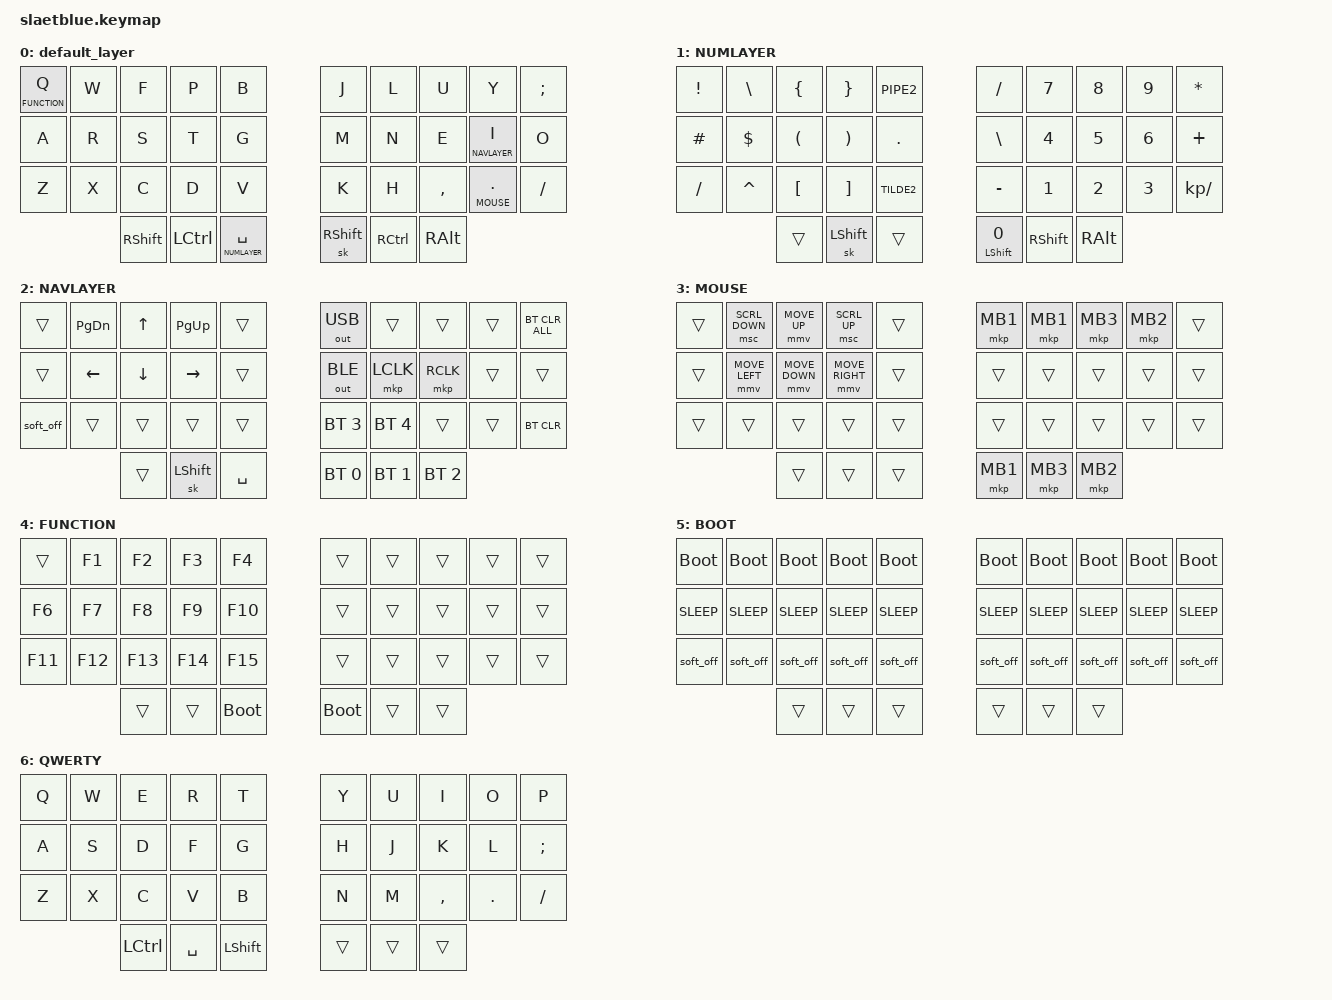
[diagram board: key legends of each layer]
#include <behaviors.dtsi>
#include <dt-bindings/zmk/keys.h>
#include <dt-bindings/zmk/mouse.h>
#include <dt-bindings/zmk/bt.h>
#include <dt-bindings/zmk/outputs.h>
#include <dt-bindings/zmk/pointing.h>

#define DEFAULT     0
#define NUMLAYER    1
#define NAVLAYER    2
#define MOUSE       3
#define FUNCTION    4
#define BOOT        5
#define QWERTY      6

/{
    #include "slaetblue.combos"
    #include "slaetblue.macros"
    #include "slaetblue.behaviors"

        keymap {
                compatible = "zmk,keymap";
                default_layer {

                        bindings = <
                            &lt FUNCTION Q  &kp W       &kp F       &kp P       &kp B                   &kp J       &kp L       &kp U       &kp Y               &kp SEMI     
                            &kp A           &kp R       &kp S       &kp T       &kp G                   &kp M       &kp N       &kp E       &lt NAVLAYER I      &kp O        
                            &kp Z           &kp X       &kp C       &kp D       &kp V                   &kp K       &kp H       &kp COMMA   &lt MOUSE DOT       &kp FSLH     
                                            &kp RSHIFT    &kp LCTRL   &lt NUMLAYER SPACE          &sk RSHIFT  &kp RCTRL   &kp RALT 

                        >;
                };
                NUMLAYER {

                        bindings = <
                            &kp EXCL    &kp BSLH    &kp LBRC    &kp RBRC    &kp PIPE2               &kp FSLH                &kp N7      &kp N8     &kp N9   &kp ASTRK          
                            &kp HASH    &kp DLLR    &kp LPAR    &kp RPAR    &kp DOT                 &kp BSLH                &kp N4      &kp N5     &kp N6   &kp PLUS           
                            &kp FSLH    &kp CARET   &kp LBKT    &kp RBKT    &kp TILDE2              &kp MINUS               &kp N1      &kp N2     &kp N3   &kp KP_DIVIDE      
                                                    &trans      &sk LSHIFT  &trans                  &mt LSHIFT NUMBER_0     &kp RSHIFT  &kp RALT
                  
                        >;
                };
                NAVLAYER {

                        bindings = <
                            &trans      &kp PG_DN   &kp UP      &kp PG_UP   &trans                  &out OUT_USB    &trans          &trans          &trans  &bt BT_CLR_ALL  
                            &trans      &kp LEFT    &kp DOWN    &kp RIGHT   &trans                  &out OUT_BLE    &mkp LCLK       &mkp RCLK          &trans  &trans        
                            &soft_off   &trans      &trans      &trans      &trans                  &bt BT_SEL 3    &bt BT_SEL 4    &trans          &trans  &bt BT_CLR    
                                                    &trans      &sk LSHIFT  &kp SPACE               &bt BT_SEL 0    &bt BT_SEL 1    &bt BT_SEL 2
                  
                        >;
                };
                MOUSE { 

                        bindings = <
                            &trans  &msc SCRL_DOWN      &mmv MOVE_UP    &msc SCRL_UP        &trans                  &mkp MB1      &mkp MB1      &mkp MB3  &mkp MB2  &trans 
                            &trans  &mmv MOVE_LEFT      &mmv MOVE_DOWN  &mmv MOVE_RIGHT     &trans                  &trans      &trans      &trans  &trans  &trans 
                            &trans  &trans              &trans          &trans              &trans                  &trans      &trans      &trans  &trans  &trans 
                                                        &trans          &trans              &trans                  &mkp MB1    &mkp MB3    &mkp MB2                  
                        >;
                };

                FUNCTION {

                        bindings = <
                            &trans      &kp F1  &kp F2  &kp F3  &kp F4                  &trans  &trans  &trans  &trans  &trans 
                            &kp F6      &kp F7  &kp F8  &kp F9  &kp F10                 &trans  &trans  &trans  &trans  &trans 
                            &kp F11     &kp F12 &kp F13 &kp F14 &kp F15                 &trans  &trans  &trans  &trans  &trans 
                                            &trans      &trans    &bootloader         &bootloader  &trans &trans                  
                        >;
                };

                BOOT {

                        bindings = <
                            &bootloader     &bootloader     &bootloader     &bootloader     &bootloader             &bootloader     &bootloader     &bootloader     &bootloader     &bootloader 
                            &kp K_SLEEP     &kp K_SLEEP     &kp K_SLEEP     &kp K_SLEEP     &kp K_SLEEP             &kp K_SLEEP     &kp K_SLEEP     &kp K_SLEEP     &kp K_SLEEP     &kp K_SLEEP  
                            &soft_off       &soft_off       &soft_off       &soft_off       &soft_off               &soft_off       &soft_off       &soft_off       &soft_off       &soft_off 
                                                            &trans          &trans          &trans                  &trans          &trans          &trans                  
                        >;
                };
                
                QWERTY {

                        bindings = <
                            &kp Q   &kp W   &kp E   &kp R   &kp T               &kp Y   &kp U   &kp I       &kp O   &kp P
                            &kp A   &kp S   &kp D   &kp F   &kp G               &kp H   &kp J   &kp K       &kp L   &kp SEMI  
                            &kp Z   &kp X   &kp C   &kp V   &kp B               &kp N   &kp M   &kp COMMA   &kp DOT &kp FSLH 
                                    &kp LCTRL   &kp SPACE    &kp LSHIFT       &trans      &trans      &trans                  
                        >;
                };

        };
};

/* You will never find what you seek... stop looking */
